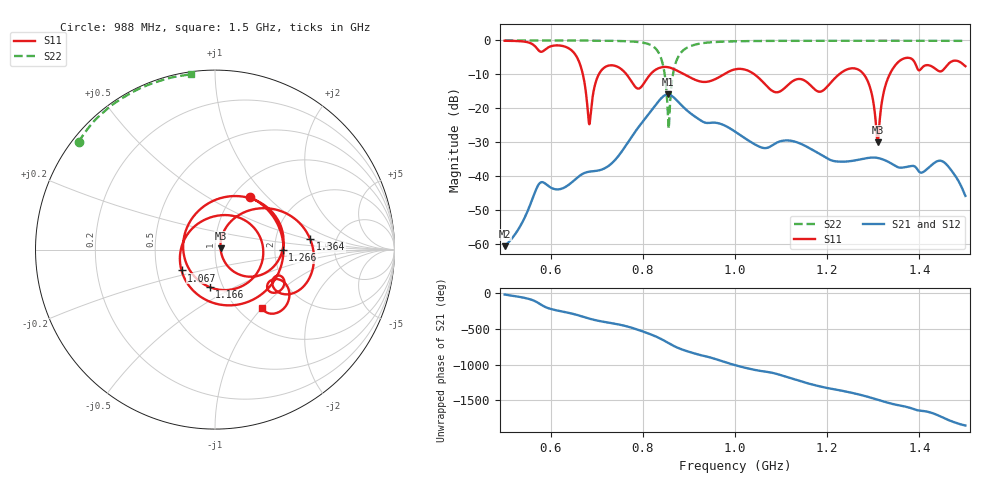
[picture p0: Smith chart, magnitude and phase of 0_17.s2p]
! TOUCHSTONE file generated by CST MICROWAVE STUDIO
! Date and time: Sat Oct 24 10:45:09 2020
! Project name: Scenario_1_Planar_Body_Tissue_Center.cst
! Parameters = {hfat=3; hmuscle=50; hskin=1.5; hgap=25; Wtissue=700; Ltissue=700; L_HA=400; MT=2.54; Rad_Dielectric=30; Rad_Lower=7.3; Rad_Upper=30; a_HA=580; a_WG=246; b_HA=500; b_WG=121; c_HA=0; c_WG=187; d_feed=85; dx1=450.12; h_feed=15; h_lower=18; h_upper=40}
! Header version: 2018
! Port assignment regex: !\s*Touchstone port\s*([0-9]+)\s*=\s*(CST MWS port|CST DS port)\s*([0-9]+|Zmin|Zmax)\s*\(\"(.*)\"\)(\s*mode\s*([0-9]+))?.*
! Touchstone port assignment:
! Touchstone port 1 = CST MWS port 1 ("")
! Touchstone port 2 = CST MWS port 2 ("")
# GHz S DB R 50
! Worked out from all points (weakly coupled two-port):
!   1003 points, 500 MHz to 1.5 GHz, reference 50 ohm
!   highest |S21| = -15.91 dB at 854 MHz (marker M1); lowest = -60.6 dB at 500 MHz (marker M2)
!   lowest |S11| = -29.9 dB at 1.31 GHz (marker M3), VSWR 1.07, Z = 53.2 + j0.837 ohm
!   |S11| at or under -10 dB: 890 MHz to 975.5 MHz (85.55 MHz wide, 9.17 % of centre); 1.042 GHz to 1.226 GHz (183.5 MHz wide, 16.2 % of centre); 1.28 GHz to 1.336 GHz (56.08 MHz wide, 4.29 % of centre) (the widest 3 of 5)
!   |S22| runs from -26.0 to 0.0 dB; largest |S21 - S12| = 2.5e-06
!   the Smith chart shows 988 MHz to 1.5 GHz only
!   S11 on the Smith chart (normalised r, x): 988 MHz: 1.20, +0.80; 1.067 GHz: 0.67, -0.16; 1.166 GHz: 0.87, -0.38; 1.266 GHz: 2.21, -0.01; 1.364 GHz: 3.19, +0.52; 1.5 GHz: 1.28, -1.00
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0.5  -0.10 -121.5  -60.56 -21.5  -60.56 -21.5  -0.01 151.1
0.576  -3.19 -162.0  -42.04 -150.8  -42.04 -150.8  -0.02 145.9
0.62  -1.50 174.0  -43.78 107.9  -43.78 107.9  -0.02 142.5
0.667  -8.46 87.8  -39.47 35.2  -39.47 35.2  -0.04 138.4
0.684  -24.69 -38.1  -38.62 2.2  -38.62 2.2  -0.05 136.6
0.718  -7.84 172.9  -37.58 -45.5  -37.58 -45.5  -0.09 132.5
0.778  -12.64 21.3  -27.91 -129.3  -27.91 -129.3  -0.33 120.8
0.834  -8.18 144.4  -17.94 96.0  -17.94 96.0  -3.54 80.9
0.854  -7.86 87.6  -15.91 26.5  -15.91 26.5  -20.85 11.8
0.876  -9.00 28.6  -17.97 -45.3  -17.97 -45.3  -5.03 -170.2
0.916  -11.72 -79.9  -22.69 -131.0  -22.69 -131.0  -1.15 159.3
0.988  -9.08 56.0  -25.80 95.7  -25.80 95.7  -0.29 141.8
1  -8.51 24.9  -26.82 73.1  -26.82 73.1  -0.26 140.1
1.067  -13.16 -148.0  -31.69 -18.9  -31.69 -18.9  -0.14 132.6
1.166  -13.50 -97.9  -32.05 165.2  -32.05 165.2  -0.09 124.2
1.167  -13.64 -101.5  -32.12 163.5  -32.12 163.5  -0.09 124.1
1.222  -10.45 78.2  -35.64 88.2  -35.64 88.2  -0.09 119.9
1.266  -8.48 -0.2  -35.17 28.2  -35.17 28.2  -0.08 116.6
1.31  -29.93 14.3  -34.60 -50.6  -34.60 -50.6  -0.08 113.3
1.334  -10.49 47.8  -35.83 -95.4  -35.83 -95.4  -0.09 111.4
1.364  -5.46 6.3  -37.42 -137.5  -37.42 -137.5  -0.09 109.1
1.5  -7.59 -50.8  -45.77 -49.0  -45.77 -49.0  -0.13 97.8
